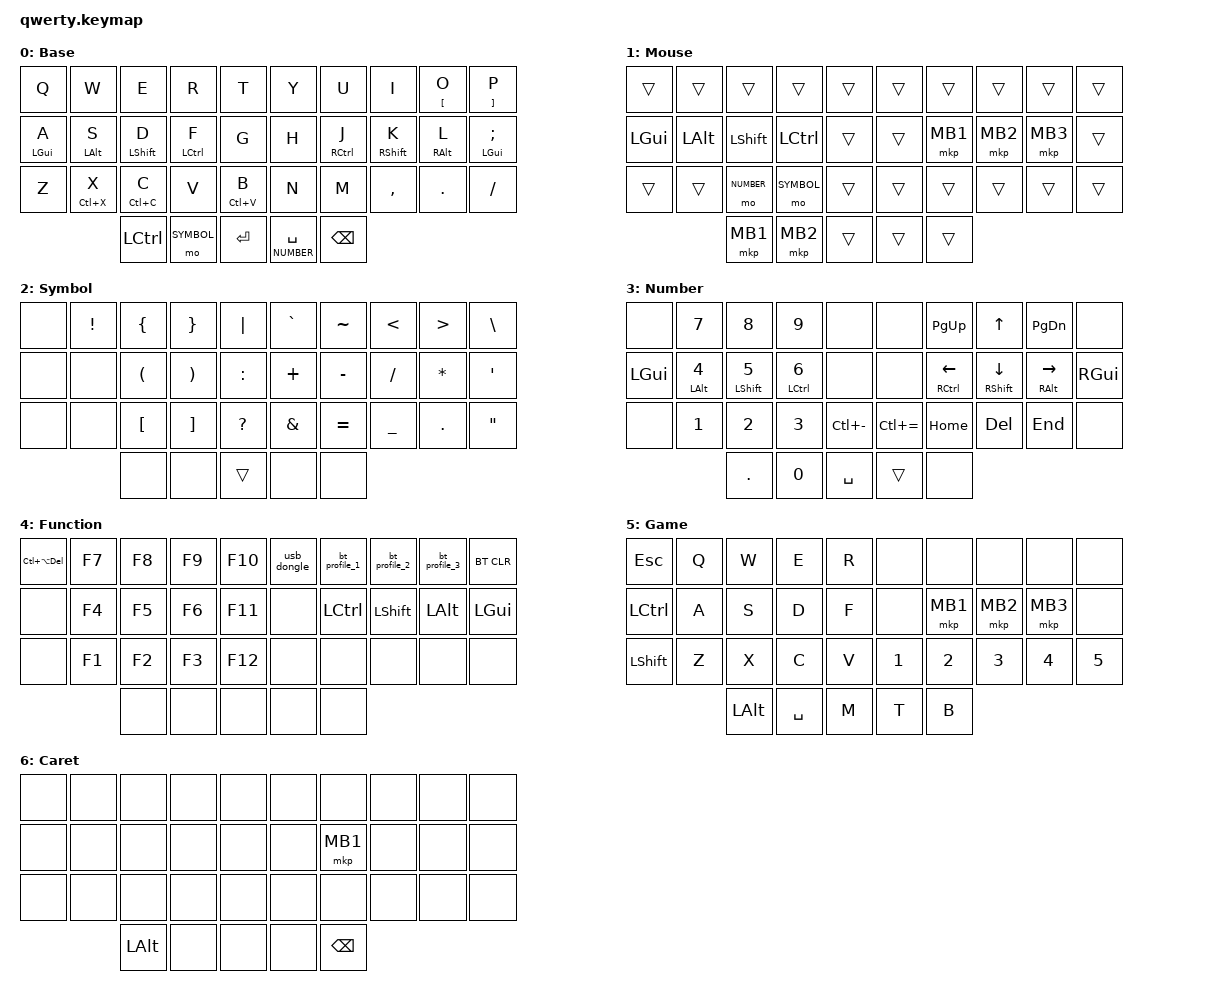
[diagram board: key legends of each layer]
#include <behaviors.dtsi>
#include <dt-bindings/zmk/bt.h>
#include <dt-bindings/zmk/keys.h>
#include <dt-bindings/zmk/outputs.h>
#include <dt-bindings/zmk/pointing.h>

#define BASE 0
#define MOUSE 1
#define SYMBOL 2
#define NUMBER 3
#define FUNCTION 4
#define GAME 5
#define CARET 6

#define KEYS_L 0 1 2 3 4 10 11 12 13 14 20 21 22 23 24
#define KEYS_R 5 6 7 8 9 15 16 17 18 19 25 26 27 28 29
#define THUMBS 30 31 32 33 34

&sk {
    release-after-ms = <600>;
    quick-release;
};

&sl {
    ignore-modifiers;
};

&mt {
    flavor = "tap-preferred";
};

&lt {
    flavor = "balanced";
    tapping-term-ms = <200>;
    quick-tap-ms = <175>;
};

&caps_word {
    /delete-property/ ignore-modifiers;
};

/ {
    behaviors {
        hml: hml {
            compatible = "zmk,behavior-hold-tap";
            #binding-cells = <2>;
            flavor = "balanced";
            tapping-term-ms = <1000>;
            quick-tap-ms = <175>;
            require-prior-idle-ms = <250>;
            hold-trigger-key-positions = <KEYS_R THUMBS>;
            hold-trigger-on-release;
            bindings = <&kp>, <&kp>;
        };

        hmr: hmr {
            compatible = "zmk,behavior-hold-tap";
            #binding-cells = <2>;
            flavor = "balanced";
            tapping-term-ms = <1000>;
            quick-tap-ms = <175>;
            require-prior-idle-ms = <250>;
            hold-trigger-key-positions = <KEYS_L THUMBS>;
            hold-trigger-on-release;
            bindings = <&kp>, <&kp>;
        };

        hml_s: hml_s {
            compatible = "zmk,behavior-hold-tap";
            #binding-cells = <2>;
            flavor = "balanced";
            tapping-term-ms = <1000>;
            quick-tap-ms = <175>;
            require-prior-idle-ms = <0>;
            hold-trigger-key-positions = <KEYS_R THUMBS>;
            hold-trigger-on-release;
            bindings = <&kp>, <&kp>;
        };

        hmr_s: hmr_s {
            compatible = "zmk,behavior-hold-tap";
            #binding-cells = <2>;
            flavor = "balanced";
            tapping-term-ms = <1000>;
            quick-tap-ms = <175>;
            require-prior-idle-ms = <0>;
            hold-trigger-key-positions = <KEYS_L THUMBS>;
            hold-trigger-on-release;
            bindings = <&kp>, <&kp>;
        };

        smart_shift: smart_shift {
            compatible = "zmk,behavior-mod-morph";
            #binding-cells = <0>;
            bindings = <&sk LSHIFT>, <&caps_word>;
            mods = <(MOD_LSFT)>;
        };

        double_shift: double_shift {
            compatible = "zmk,behavior-macro";
            #binding-cells = <0>;
            wait-ms = <50>;
            tap-ms = <50>;
            bindings = <&macro_tap &kp LSHFT &kp LSHFT>;
        };

        bt_profile_1: bt_profile_1 {
            compatible = "zmk,behavior-macro";
            #binding-cells = <0>;
            bindings = <&macro_tap &out OUT_BLE &bt BT_SEL 0>;
        };

        bt_profile_2: bt_profile_2 {
            compatible = "zmk,behavior-macro";
            #binding-cells = <0>;
            bindings = <&macro_tap &out OUT_BLE &bt BT_SEL 1>;
        };

        bt_profile_3: bt_profile_3 {
            compatible = "zmk,behavior-macro";
            #binding-cells = <0>;
            bindings = <&macro_tap &out OUT_BLE &bt BT_SEL 2>;
        };

        usb_dongle: usb_dongle {
            compatible = "zmk,behavior-macro";
            #binding-cells = <0>;
            bindings = <
                &macro_tap
                &out OUT_NONE
                &bt BT_DISC 0
                &bt BT_DISC 1
                &bt BT_DISC 2
                &out OUT_USB
            >;
        };
    };

    combos {
        compatible = "zmk,combos";
        timeout-ms = <20>;
        require-prior-idle-ms = <250>;

        combo_caret_layer_left {
            key-positions = <20 24>;
            bindings = <&to CARET>;
        };

        combo_caret_layer_right {
            key-positions = <25 29>;
            bindings = <&to CARET>;
        };

        combo_reset_central {
            key-positions = <32 33>;
            bindings = <&bootloader>;
            require-prior-idle-ms = <2000>;
        };

        combo_normal {
            key-positions = <7 8>;
            bindings = <&to BASE>;
        };

        combo_double_shift {
            key-positions = <6 7>;
            bindings = <&double_shift>;
            layers = <BASE>;
            require-prior-idle-ms = <0>;
        };

        combo_fn {
            key-positions = <27 28>;
            bindings = <&mo FUNCTION>;
        };

        combo_genshin {
            key-positions = <5 9>;
            bindings = <&to GAME>;
        };

        combo_esc {
            key-positions = <1 2>;
            bindings = <&kp ESCAPE>;
        };

        combo_tab {
            key-positions = <2 3>;
            bindings = <&kp TAB>;
        };

        combo_cdel {
            key-positions = <11 12>;
            bindings = <&kp LC(BACKSPACE)>;
        };

        combo_language {
            key-positions = <13 16>;
            bindings = <&kp LG(SPACE)>;
            layers = <BASE>;
            require-prior-idle-ms = <0>;
        };

        combo_unlock {
            key-positions = <0 4>;
            bindings = <&studio_unlock>;
        };
    };

    keymap {
        compatible = "zmk,keymap";

        Base {
            display-name = "Base";
            bindings = <
&kp Q        &kp W        &kp E         &kp R         &kp T             &kp Y           &kp U          &kp I          &mt LEFT_BRACKET O  &mt RIGHT_BRACKET P
&hml LGUI A  &hml LALT S  &hml LSHFT D  &hml LCTRL F  &kp G             &kp H           &hmr RCTRL J    &hmr RSHFT K   &hmr RALT L   &hmr LGUI SEMI
&kp Z        &mt LC(X) X  &mt LC(C) C   &kp V         &mt LC(V) B       &kp N           &kp M          &kp COMMA      &kp DOT       &kp FSLH
                            &kp LCTRL     &mo SYMBOL    &kp ENTER         &lt NUMBER SPACE  &kp BSPC
            >;
        };

        Mouse {
            display-name = "Mouse";
            bindings = <
&trans   &trans   &trans    &trans    &trans             &trans  &trans    &trans    &trans    &trans
&kp LGUI &kp LALT &kp LSHFT &kp LCTRL &trans             &trans  &mkp MB1  &mkp MB2  &mkp MB3  &trans
&trans   &trans   &mo NUMBER &mo SYMBOL &trans            &trans  &trans    &trans    &trans    &trans
                           &mkp MB1     &mkp MB2           &trans    &trans  &trans
            >;
        };

        Sym {
            display-name = "Symbol";
            bindings = <
&none  &kp EXCL  &kp LEFT_BRACE        &kp RIGHT_BRACE        &kp PIPE        &kp GRAVE  &kp TILDE  &kp LESS_THAN  &kp GREATER_THAN  &kp BACKSLASH
&none  &none  &kp LEFT_PARENTHESIS  &kp RIGHT_PARENTHESIS  &kp COLON       &kp PLUS   &kp MINUS  &kp SLASH      &kp ASTRK         &kp SINGLE_QUOTE
&none  &none  &kp LEFT_BRACKET      &kp RIGHT_BRACKET      &kp QUESTION    &kp AMPS   &kp EQUAL  &kp UNDER      &kp PERIOD        &kp DOUBLE_QUOTES
                         &none       &none                  &trans          &none       &none
            >;
        };

        Num {
            display-name = "Number";
            bindings = <
&none     &kp N7          &kp N8           &kp N9           &none             &none          &kp PG_UP          &kp UP             &kp PG_DN          &none
&kp LGUI  &hml_s LALT N4  &hml_s LSHFT N5  &hml_s LCTRL N6  &none             &none          &hmr_s RCTRL LEFT  &hmr_s RSHFT DOWN  &hmr_s RALT RIGHT  &kp RGUI
&none     &kp N1          &kp N2           &kp N3           &kp LC(MINUS)     &kp LC(EQUAL)  &kp HOME           &kp DEL            &kp END            &none
                           &kp DOT          &kp N0            &kp SPACE         &trans          &none
            >;
        };

        Fun {
            display-name = "Function";
            bindings = <
&kp LC(LA(DEL))  &kp F7  &kp F8  &kp F9  &kp F10            &usb_dongle  &bt_profile_1  &bt_profile_2  &bt_profile_3  &bt BT_CLR
&none            &kp F4  &kp F5  &kp F6  &kp F11            &none  &kp LCTRL  &kp LSHFT  &kp LALT  &kp LGUI
&none            &kp F1  &kp F2  &kp F3  &kp F12            &none  &none      &none      &none     &none
                          &none   &none    &none              &none  &none
            >;
        };

        Game {
            display-name = "Game";
            bindings = <
&kp ESCAPE  &kp Q  &kp W      &kp E      &kp R              &none   &none     &none     &none     &none
&kp LCTRL   &kp A  &kp S      &kp D      &kp F              &none   &mkp MB1  &mkp MB2  &mkp MB3  &none
&kp LSHIFT  &kp Z  &kp X      &kp C      &kp V              &kp N1  &kp N2    &kp N3    &kp N4    &kp N5
                    &kp LALT   &kp SPACE  &kp M              &kp T   &kp B
            >;
        };

        Caret {
            display-name = "Caret";
            bindings = <
&none  &none  &none  &none  &none                &none        &none  &none  &none        &none
&none  &none  &none  &none  &none                &none        &mkp MB1  &none  &none     &none
&none  &none  &none  &none  &none                &none        &none  &none  &none        &none
              &kp LALT  &none  &none             &none        &kp BSPC
            >;
        };
    };
};
